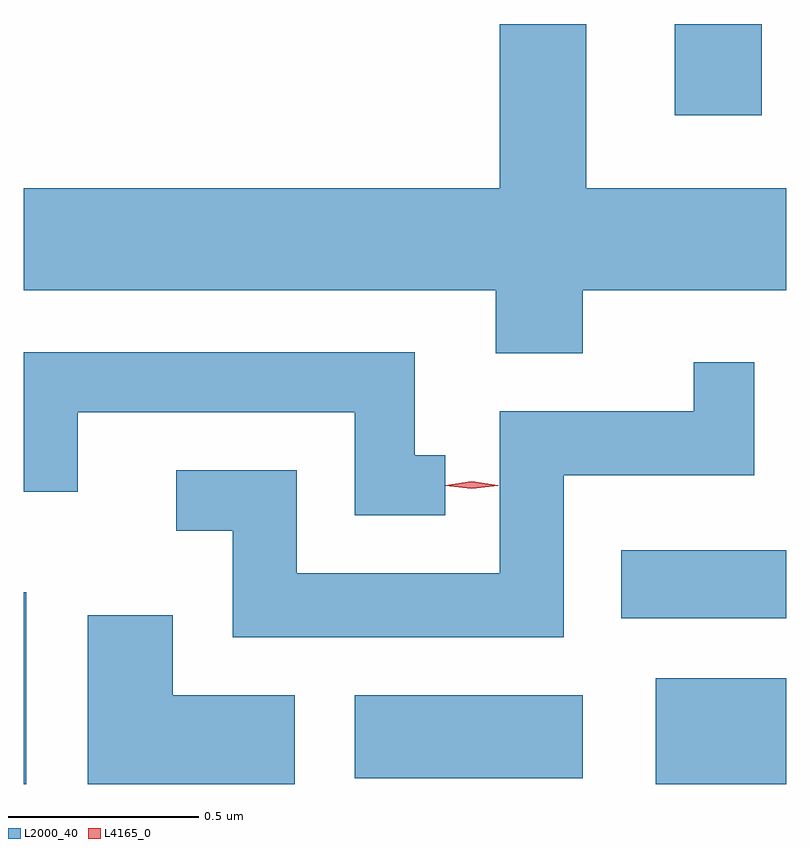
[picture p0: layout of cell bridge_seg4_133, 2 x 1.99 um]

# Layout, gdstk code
import gdstk
lib = gdstk.Library(unit=1e-6, precision=1e-09)
def R(c, l, rs):  # rectangles x0, y0, x1, y1
    for r in rs: c.add(gdstk.rectangle(r[:2], r[2:], *l))
def P(c, l, *ps):  # polygons
    for p in ps: c.add(gdstk.Polygon(p, *l))
L2000_40 = (2000, 40)
L4165_0 = (4165, 0)

bridge_seg4_133 = lib.new_cell('bridge_seg4_133')
R(bridge_seg4_133, L2000_40, [(907.453,1269.021,907.459,1269.524), (909.111,1269.021,909.453,1269.299), (908.321,1269.036,908.919,1269.254), (909.021,1269.456,909.453,1269.634), (909.161,1270.776,909.389,1271.015)])
P(bridge_seg4_133, L2000_40, [(908.919,1270.316),(909.453,1270.316),(909.453,1270.584),(908.929,1270.584),(908.929,1271.015),(908.701,1271.015),(908.701,1270.584),(907.453,1270.584),(907.453,1270.316),(908.691,1270.316),(908.691,1270.151),(908.919,1270.151)],
  [(908.558,1269.884),(908.479,1269.884),(908.479,1270.154),(907.453,1270.154),(907.453,1269.788),(907.594,1269.788),(907.594,1269.996),(908.321,1269.996),(908.321,1269.726),(908.558,1269.726)],
  [(908.869,1269.831),(909.369,1269.831),(909.369,1270.128),(909.211,1270.128),(909.211,1269.999),(908.701,1269.999),(908.701,1269.574),(908.169,1269.574),(908.169,1269.844),(907.853,1269.844),(907.853,1269.686),(908.001,1269.686),(908.001,1269.406),(908.869,1269.406)],
  [(908.164,1269.254),(907.844,1269.254),(907.844,1269.464),(907.621,1269.464),(907.621,1269.021),(908.164,1269.021)])
P(bridge_seg4_133, L4165_0, [(908.628,1269.795),(908.559,1269.804),(908.559,1269.805),(908.559,1269.805),(908.628,1269.815),(908.698,1269.805),(908.698,1269.805),(908.698,1269.804)])

lib.write_gds('bridge_seg4_133.gds')
